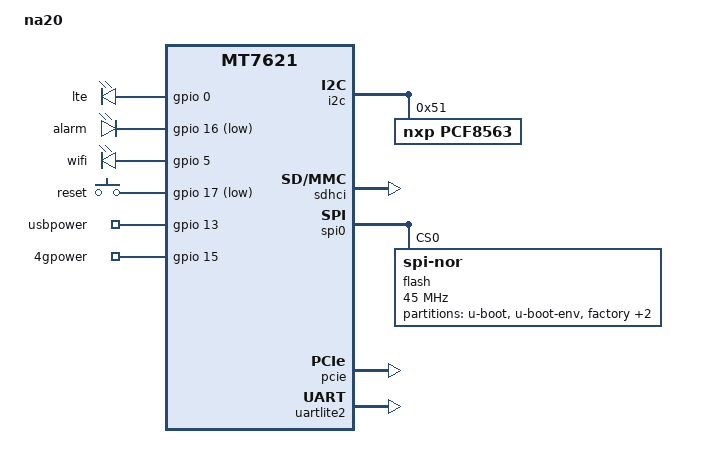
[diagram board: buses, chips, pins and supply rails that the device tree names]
#include "mt7621.dtsi"

#include <dt-bindings/gpio/gpio.h>
#include <dt-bindings/input/input.h>

/ {
	compatible = "xspeed,na20", "mediatek,mt7621-soc";
	model = "na20";

	aliases {
		label-mac-device = &gmac0;
	};

	chosen {
		bootargs = "console=ttyS0,115200";
	};

	leds {
		compatible = "gpio-leds";
		status-lte {
			label = "lte";
			gpios = <&gpio 0 GPIO_ACTIVE_HIGH>;
			linux,default-trigger = "timer";
			default-state = "on";
		};

		status-alarm {
			label = "alarm";
			gpios = <&gpio 16 GPIO_ACTIVE_LOW>;
			linux,default-trigger = "timer";
			default-state = "on";
		};

		status-wifi {
			label = "wifi";
			gpios = <&gpio 5 GPIO_ACTIVE_HIGH>;
			linux,default-trigger = "timer";
			default-state = "on";
		};
	};

	keys {
		compatible = "gpio-keys-polled";
		poll-interval = <100>;

		reset {
			label = "reset";
			gpios = <&gpio 17 GPIO_ACTIVE_LOW>;
			linux,code = <KEY_RESTART>;
		};
	};

	gpio_export {
		compatible = "gpio-export";
		#size-cells = <0>;

		usbpower {
			gpio-export,name = "usbpower";
			gpio-export,output = <1>;
			gpios = <&gpio 13 GPIO_ACTIVE_HIGH>;
		};

		4gpower {
			gpio-export,name = "4gpower";
			gpio-export,output = <1>;
			gpios = <&gpio 15 GPIO_ACTIVE_HIGH>;
		};
	};
};

&i2c {
    status = "okay";

    pcf8563: rtc@51 {
        status = "okay";
        compatible = "nxp,pcf8563";
        reg = <0x51>;
    };                   
};

&sdhci {
	status = "okay";
};

&spi0 {
	status = "okay";

	flash@0 {
		compatible = "jedec,spi-nor";
		reg = <0>;
		spi-max-frequency = <45000000>;
		broken-flash-reset;

		partitions {
			compatible = "fixed-partitions";
			#address-cells = <1>;
			#size-cells = <1>;

			partition@0 {
				label = "u-boot";
				reg = <0x0 0x30000>;
			};

			partition@30000 {
				label = "u-boot-env";
				reg = <0x30000 0x10000>;
			};

			factory: partition@40000 {
				label = "factory";
				reg = <0x40000 0x10000>;
			};

			partition@50000 {
				label = "firmware";
				reg = <0x50000 0x3ab0000>;
			};
			
			partition@3b00000 {
				label = "info";
				reg = <0x3b00000 0x500000>;
			};
		};
	};
};

&pcie {
	status = "okay";
};

&uartlite2 {
	status = "okay";
};

&pcie0 {
	mt76@0,0 {
		reg = <0x0000 0 0 0 0>;
		mediatek,mtd-eeprom = <&factory 0x8000>;
	};
};

&pcie1 {
	mt76@0,0 {
		reg = <0x0000 0 0 0 0>;
		mediatek,mtd-eeprom = <&factory 0x0000>;
	};
};

&gmac0 {
	nvmem-cells = <&macaddr_factory_e000>;
	nvmem-cell-names = "mac-address";
};

&switch0 {
	ports {
		port@0 {
			status = "okay";
			label = "lan1";
		};

		port@1 {
			status = "okay";
			label = "lan2";
		};

		port@2 {
			status = "okay";
			label = "lan3";
		};

		port@3 {
			status = "okay";
			label = "lan4";
		};

		port@4 {
			status = "okay";
			label = "wan";
			nvmem-cells = <&macaddr_factory_e006>;
			nvmem-cell-names = "mac-address";
			mac-address-increment = <1>;
		};
	};
};

&state_default {
	gpio {
		groups = "jtag", "uart2", "wdt";
		function = "gpio";
	};
};

&factory {
	compatible = "nvmem-cells";
	#address-cells = <1>;
	#size-cells = <1>;

	macaddr_factory_e000: macaddr@e000 {
		reg = <0xe000 0x6>;
	};

	macaddr_factory_e006: macaddr@e006 {
		reg = <0xe006 0x6>;
	};
};
